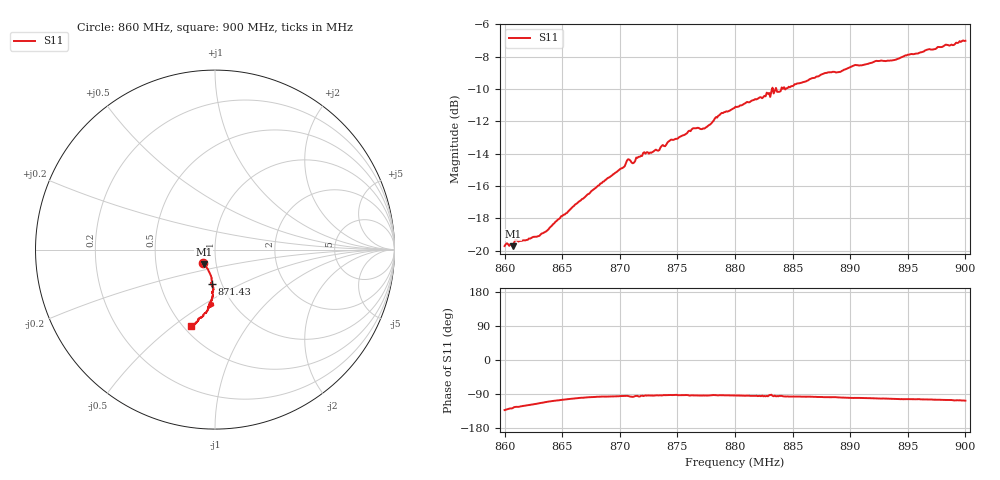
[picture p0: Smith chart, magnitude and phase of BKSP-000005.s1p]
# MHz S MA R 50
!  freq  S11
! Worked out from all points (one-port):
!   400 points, 860 MHz to 900 MHz, reference 50 ohm
!   lowest |S11| = -19.7 dB at 860.7 MHz (marker M1), VSWR 1.23, Z = 43.6 - j7.26 ohm
!   |S11| at or under -10 dB: start of sweep to 883.22 MHz; 883.2825 MHz to 883.5172 MHz (234.8 kHz wide, 0.0266 % of centre); 883.5884 MHz to 884.0162 MHz (427.7 kHz wide, 0.0484 % of centre)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
!   S11 on the Smith chart (normalised r, x): 860 MHz: 0.86, -0.13; 871.43 MHz: 0.90, -0.36; 900 MHz: 0.55, -0.58
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860  0.1034 -132.1
860.7018  0.1032 -127.0
860.9023  0.1076 -124.0
863.0075  0.111 -114.0
865.0125  0.1281 -105.1
870.0251  0.1789 -95.2
870.7268  0.1919 -95.0
871.1278  0.1864 -97.2
871.4286  0.1942 -95.0
873.3333  0.2038 -93.5
874.4361  0.2206 -92.3
875.0376  0.2224 -92.9
876.3409  0.239 -93.3
877.3434  0.2386 -93.8
878.8471  0.2669 -92.7
880.0501  0.2789 -93.6
882.8571  0.3059 -95.7
883.0576  0.299 -92.3
883.1579  0.3112 -91.7
883.2581  0.3194 -94.5
883.3584  0.3065 -95.8
883.4586  0.3125 -93.9
883.5589  0.3189 -96.0
883.7594  0.31 -95.7
885.0627  0.3236 -96.5
890.0752  0.3706 -100.2
895.0877  0.4041 -103.6
900  0.4463 -107.4
